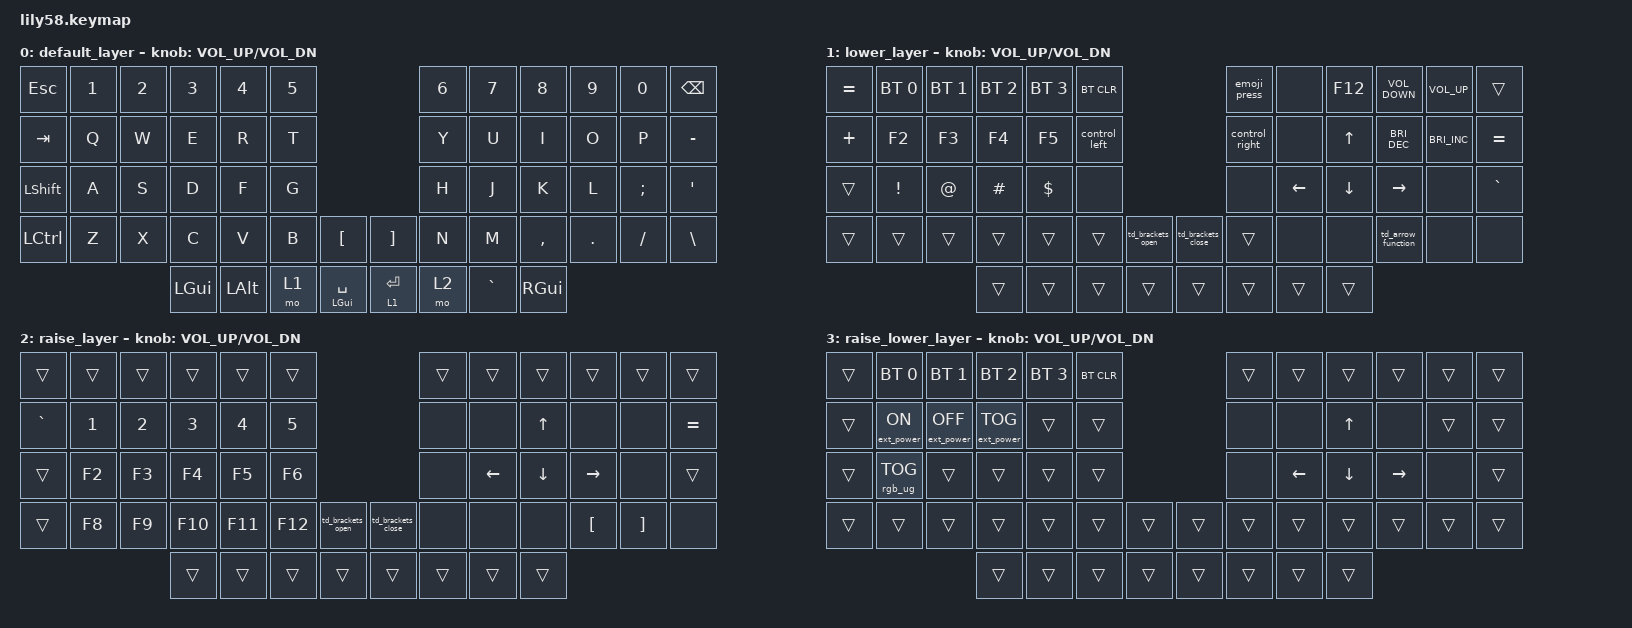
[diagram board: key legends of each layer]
/*
 * Copyright (c) 2020 The ZMK Contributors
 *
 * SPDX-License-Identifier: MIT
 */

#include <behaviors.dtsi>
#include <dt-bindings/zmk/keys.h>
#include <dt-bindings/zmk/bt.h>
#include <dt-bindings/zmk/ext_power.h>
#include <dt-bindings/zmk/rgb.h>

#include "./macros.dtsi"
#include "./behaviors.dtsi"

/ {

    conditional_layers {
        compatible = "zmk,conditional-layers";

        tri_layer {
            if-layers = <1 2>;
            then-layer = <3>;
        };
    };

    combos {
        compatible = "zmk,combos";

        raycast {
            bindings = <&macro_cmd_space>;
            key-positions = <53 42>;
            layers = <0 3 1 2>;
        };
    };

    keymap {
        compatible = "zmk,keymap";

        default_layer {
            // ------------------------------------------------------------------------------------------------------------
            // |  ESC  |  1  |  2  |  3   |  4   |  5   |                   |  6   |  7    |  8    |  9   |   0   |   `   |
            // |  TAB  |  Q  |  W  |  E   |  R   |  T   |                   |  Y   |  U    |  I    |  O   |   P   |   -   |
            // |  CTRL |  A  |  S  |  D   |  F   |  G   |                   |  H   |  J    |  K    |  L   |   ;   |   '   |
            // | SHIFT |  Z  |  X  |  C   |  V   |  B   |   "["  |  |  "]"  |  N   |  M    |  ,    |  .   |   /   | SHIFT |
            //                     | ALT  | GUI  | LOWER|  SPACE |  | ENTER | RAISE| BSPC  | GUI   |

            bindings = <
          &kp ESC  &kp N1  &kp N2    &kp N3    &kp N4  &kp N5                                        &kp N6     &kp N7         &kp N8   &kp N9    &kp N0  &kp BACKSPACE
          &kp TAB   &kp Q   &kp W     &kp E     &kp R   &kp T                                         &kp Y      &kp U          &kp I    &kp O     &kp P      &kp MINUS
   &kp LEFT_SHIFT   &kp A   &kp S     &kp D     &kp F   &kp G                                         &kp H      &kp J          &kp K    &kp L  &kp SEMI        &kp SQT
 &kp LEFT_CONTROL   &kp Z   &kp X     &kp C     &kp V   &kp B   &kp LEFT_BRACKET  &kp RIGHT_BRACKET   &kp N      &kp M      &kp COMMA  &kp DOT  &kp FSLH  &kp BACKSLASH
                                   &kp LGUI  &kp LALT   &mo 1  &ht_tp LGUI SPACE          &lt 1 RET   &mo 2  &kp GRAVE  &kp RIGHT_GUI
            >;

            sensor-bindings = <&inc_dec_kp C_VOL_UP C_VOL_DN>;
        };

        lower_layer {
            // ------------------------------------------------------------------------------------------------------------
            // | BTCLR | BT1 | BT2 |  BT3 |  BT4 |  BT5 |                   |      |       |       |      |       |       |
            // |  F1   |  F2 |  F3 |  F4  |  F5  |  F6  |                   |  F7  |  F8   |  F9   |  F10 |  F11  |  F12  |
            // |   `   |  !  |  @  |  #   |  $   |  %   |                   |  ^   |  &    |  *    |  (   |   )   |   ~   |
            // |       |     |     |      |      |      |        |  |       |      |  _    |  +    |  {   |   }   |  "|"  |
            //                     |      |      |      |        |  |       |      |       |       |

            bindings = <
 &kp EQUAL  &bt BT_SEL 0  &bt BT_SEL 1  &bt BT_SEL 2  &bt BT_SEL 3     &bt BT_CLR                                           &emoji_press     &none   &kp F12     &kp C_VOLUME_DOWN       &kp C_VOLUME_UP     &trans
  &kp PLUS        &kp F2        &kp F3        &kp F4        &kp F5  &control_left                                         &control_right     &none    &kp UP  &kp C_BRIGHTNESS_DEC  &kp C_BRIGHTNESS_INC  &kp EQUAL
    &trans      &kp EXCL        &kp AT      &kp HASH    &kp DOLLAR          &none                                                  &none  &kp LEFT  &kp DOWN             &kp RIGHT                 &none  &kp GRAVE
    &trans        &trans        &trans        &trans        &trans         &trans  &td_brackets_open  &td_brackets_close          &trans     &none     &none    &td_arrow_function                 &none      &none
                                              &trans        &trans         &trans             &trans              &trans          &trans    &trans    &trans
            >;

            sensor-bindings = <&inc_dec_kp C_VOL_UP C_VOL_DN>;
        };

        raise_layer {
            // ------------------------------------------------------------------------------------------------------------
            // |       |     |     |      |      |      |                   |      |       |       |      |       |       |
            // |   `   |  1  |  2  |  3   |  4   |  5   |                   |  6   |   7   |   8   |  9   |   0   |       |
            // |   F1  |  F2 |  F3 |  F4  |  F5  |  F6  |                   |      |   <-  |   v   |  ^   |  ->   |       |
            // |   F7  |  F8 |  F9 |  F10 |  F11 |  F12 |        |  |       |  +   |   -   |   =   |  [   |   ]   |   \   |
            //                     |      |      |      |        |  |       |      |       |       |

            bindings = <
    &trans  &trans  &trans   &trans   &trans   &trans                                         &trans    &trans    &trans     &trans             &trans     &trans
 &kp GRAVE  &kp N1  &kp N2   &kp N3   &kp N4   &kp N5                                          &none     &none    &kp UP      &none              &none  &kp EQUAL
    &trans  &kp F2  &kp F3   &kp F4   &kp F5   &kp F6                                          &none  &kp LEFT  &kp DOWN  &kp RIGHT              &none     &trans
    &trans  &kp F8  &kp F9  &kp F10  &kp F11  &kp F12  &td_brackets_open  &td_brackets_close   &none     &none     &none   &kp LBKT  &kp RIGHT_BRACKET      &none
                             &trans   &trans   &trans             &trans              &trans  &trans    &trans    &trans
            >;

            sensor-bindings = <&inc_dec_kp C_VOL_UP C_VOL_DN>;
        };

        raise_lower_layer {
            // ------------------------------------------------------------------------------------------------------------
            // |       |     |     |      |      |      |                   |      |       |       |      |       |       |
            // |   `   |  1  |  2  |  3   |  4   |  5   |                   |  6   |   7   |   8   |  9   |   0   |       |
            // |   F1  |  F2 |  F3 |  F4  |  F5  |  F6  |                   |      |   <-  |   v   |  ^   |  ->   |       |
            // |   F7  |  F8 |  F9 |  F10 |  F11 |  F12 |        |  |       |  +   |   -   |   =   |  [   |   ]   |   \   |
            //                     |      |      |      |        |  |       |      |       |       |

            bindings = <
 &trans      &bt BT_SEL 0       &bt BT_SEL 1       &bt BT_SEL 2  &bt BT_SEL 3  &bt BT_CLR                  &trans    &trans    &trans     &trans  &trans  &trans
 &trans  &ext_power EP_ON  &ext_power EP_OFF  &ext_power EP_TOG        &trans      &trans                   &none     &none    &kp UP      &none  &trans  &trans
 &trans   &rgb_ug RGB_TOG             &trans             &trans        &trans      &trans                   &none  &kp LEFT  &kp DOWN  &kp RIGHT   &none  &trans
 &trans            &trans             &trans             &trans        &trans      &trans  &trans  &trans  &trans    &trans    &trans     &trans  &trans  &trans
                                                         &trans        &trans      &trans  &trans  &trans  &trans    &trans    &trans
            >;

            sensor-bindings = <&inc_dec_kp C_VOL_UP C_VOL_DN>;
        };
    };
};
